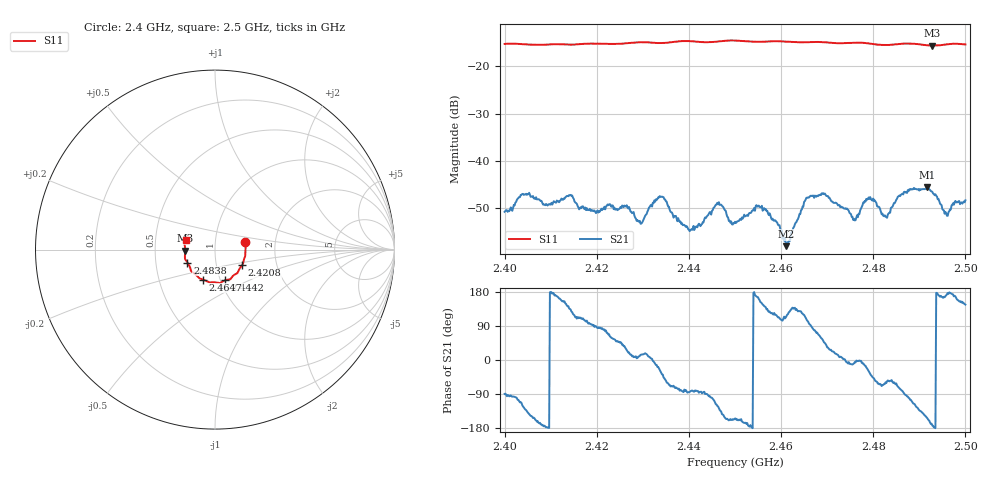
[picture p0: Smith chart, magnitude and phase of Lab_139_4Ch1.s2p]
# Hz S RI R 50
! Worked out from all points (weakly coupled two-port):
!   601 points, 2.4 GHz to 2.5 GHz, reference 50 ohm
!   highest |S21| = -45.56 dB at 2.4917 GHz (marker M1); lowest = -58.0 dB at 2.4612 GHz (marker M2)
!   lowest |S11| = -15.6 dB at 2.4928 GHz (marker M3), VSWR 1.40, Z = 35.8 - j0.376 ohm
!   |S11| at or under -10 dB: start of sweep to end of sweep
!   S12 and S22 are empty: the file has one direction only
!   S11 on the Smith chart (normalised r, x): 2.4 GHz: 1.40, +0.12; 2.4208 GHz: 1.33, -0.24; 2.4442 GHz: 1.05, -0.37; 2.4647 GHz: 0.83, -0.29; 2.4838 GHz: 0.73, -0.11; 2.5 GHz: 0.72, +0.08
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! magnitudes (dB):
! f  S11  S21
! 2.4 GHz  -15.2  -50.7
! 2.4048 GHz  -15.4  -47.1
! 2.4167 GHz  -15.2  -49.9
! 2.4208 GHz  -15.2  -50.4
! 2.4295 GHz  -14.9  -53.2
! 2.4333 GHz  -15.1  -47.7
! 2.4403 GHz  -14.7  -54.5
! 2.4442 GHz  -14.9  -51.4
! 2.4467 GHz  -14.7  -49.2
! 2.45 GHz  -14.5  -52.8
! 2.4553 GHz  -14.8  -49.7
! 2.4612 GHz  -14.8  -58.0
! 2.4647 GHz  -14.9  -49.6
! 2.4667 GHz  -14.8  -47.4
! 2.4758 GHz  -15.0  -52.2
! 2.479 GHz  -15.1  -47.7
! 2.4833 GHz  -15.5  -51.1
! 2.4838 GHz  -15.4  -49.9
! 2.4917 GHz  -15.5  -45.6
! 2.4928 GHz  -15.6  -46.5
! 2.4958 GHz  -15.3  -51.1
! 2.5 GHz  -15.4  -48.3
